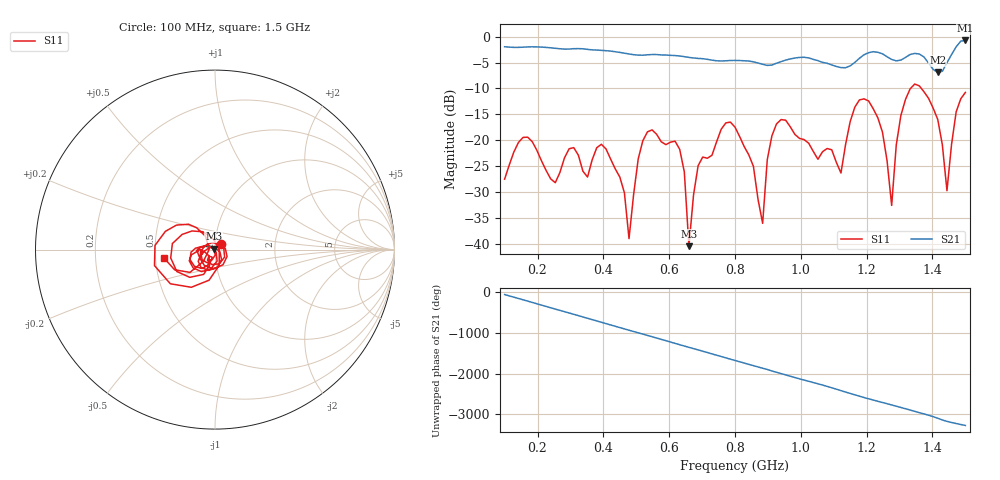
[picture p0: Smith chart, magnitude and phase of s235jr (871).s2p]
! NanoVNA-App
! Date: 2025-09-25 15:10:57
! Start: 100MHz Stop: 1,5GHz Points: 101
! S-Parameter data: F S11 S21 S12 S22
# Hz S RI R 50
!  Frequency  S11_Real  S11_Imag  S21_Real  S21_Imag  S12_Real  S12_Imag  S22_Real  S22_Imag
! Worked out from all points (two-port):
!   101 points, 100 MHz to 1.5 GHz, reference 50 ohm
!   highest |S21| = -0.75 dB at 1.5 GHz (marker M1); lowest = -6.9 dB at 1.416 GHz (marker M2)
!   |S21| within 3 dB of the highest: start of sweep to 633.2 MHz; 1.187 GHz to 1.259 GHz (71.68 MHz wide, 5.86 % of centre) (the widest 2 of 4)
!   lowest |S11| = -40.4 dB at 660 MHz (marker M3), VSWR 1.02, Z = 49.3 + j0.604 ohm
!   |S11| at or under -10 dB: start of sweep to 1.333 GHz; 1.366 GHz to end of sweep
!   S12 and S22 are empty: the file has one direction only
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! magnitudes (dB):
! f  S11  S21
! 100 MHz  -27.5  -2.0
! 156 MHz  -19.4  -2.0
! 338 MHz  -25.9  -2.4
! 408 MHz  -21.6  -2.7
! 478 MHz  -38.9  -3.4
! 520 MHz  -20.1  -3.6
! 576 MHz  -20.3  -3.5
! 632 MHz  -21.7  -3.7
! 660 MHz  -40.4  -4.0
! 688 MHz  -24.9  -4.2
! 800 MHz  -17.4  -4.6
! 884 MHz  -36.0  -5.3
! 926 MHz  -16.8  -5.1
! 1.038 GHz  -22.1  -4.4
! 1.122 GHz  -26.3  -6.0
! 1.206 GHz  -12.4  -3.1
! 1.276 GHz  -32.5  -4.4
! 1.304 GHz  -15.2  -4.5
! 1.332 GHz  -10.1  -3.5
! 1.416 GHz  -16.0  -6.9
! 1.444 GHz  -29.7  -5.0
! 1.5 GHz  -10.8  -0.8
